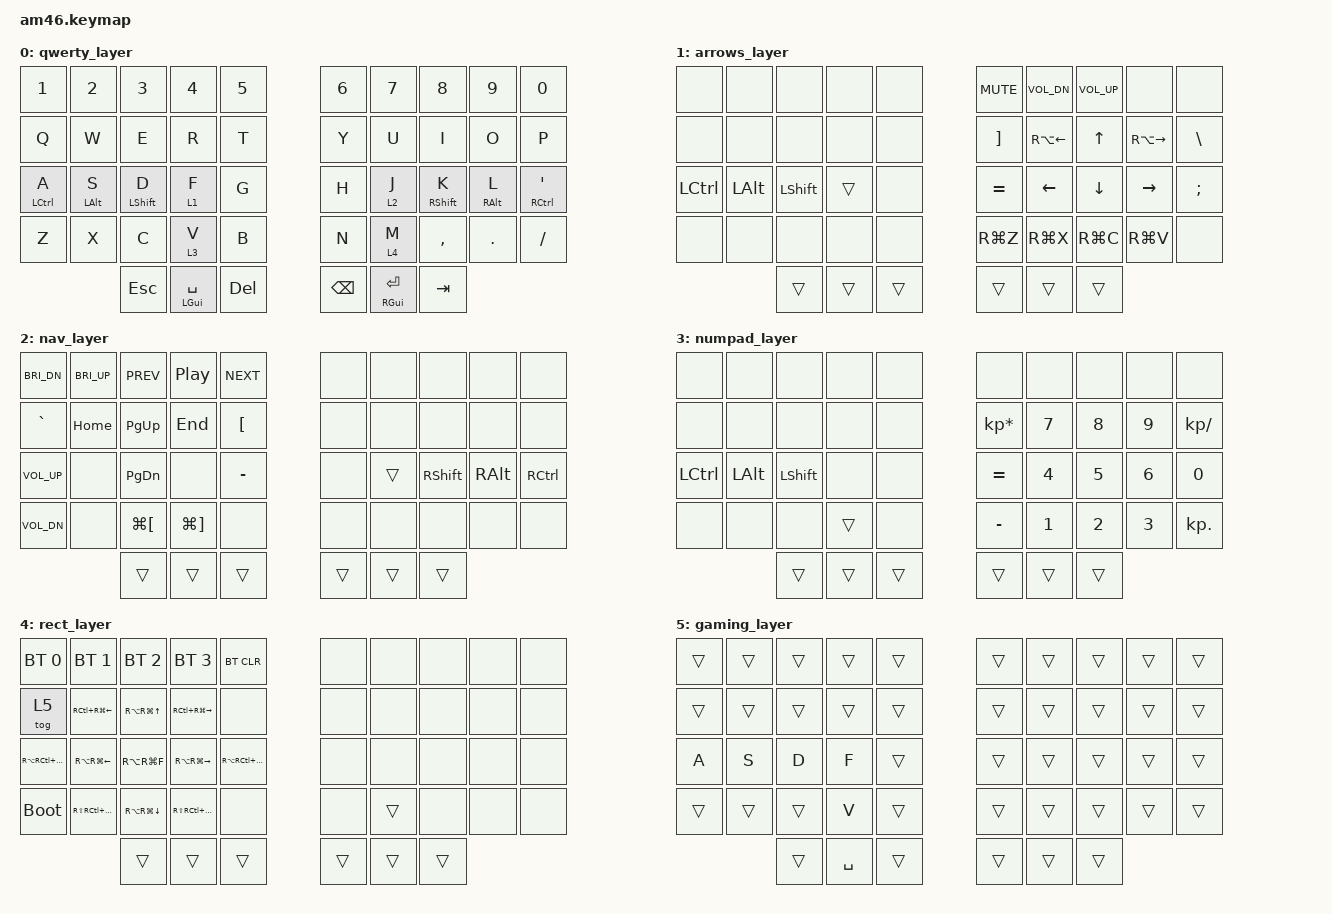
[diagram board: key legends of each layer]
/*
 * Copyright (c) 2021 Ross Harmes
 *
 * SPDX-License-Identifier: MIT
 */

#include <behaviors.dtsi>
#include <dt-bindings/zmk/keys.h>
#include <dt-bindings/zmk/bt.h>

// TODO: Define aliases for longer key-combinations
// TODO: Figure out the capslock combo.
/*
/ {
	combos {
		compatible = "zmk,combos";
		combo_esc {
			timeout-ms = <50>;
			key-positions = <45 46>; // Esc + Tab
			bindings = <&kp CAPS>;
			layers = <-1>;
		};
	};
};
*/

/ {
	keymap {
		compatible = "zmk,keymap";

		qwerty_layer {
/* Keymap 0: QWERTY layer
 *
 *                 ,------.------.------.------.------.                             ,------.------.------.------.------.
 *                 |   1  |   2  |   3  |   4  |   5  |                             |   6  |   7  |   8  |   9  |   0  |
 *                 |------+------+------+------+------|                             |------+------+------+------+------|
 *                 |   Q  |   W  |   E  |   R  |   T  |                             |   Y  |   U  |   I  |   O  |   P  |
 *                 |------+------+------+------+------|                             |------+------+------+------+------|
 *                 | A(^) | S(⌥) | D(⇧) | F(1) |   G  |------.               ,------|   H  | J(2) | K(⇧) | L(⌥) | '(^) |
 *                 |------+------+------+------+------|      |               |      |------+------+------+------+------|
 *                 |   Z  |   X  |   C  | V(3) |   B  |  Spc |               |  Ent |   N  | M(4) |   ,  |   .  |   /  |
 *                 `------'------'------'------+------|  (⌘) |------. ,------|  (⌘) |------+------'------'------'------'
 *                                             |  Esc |      |  Del | |  BS  |      |  Tab |
 *                                             `------'------'------' `------'------'------'
 */
			bindings = <
&kp N1      &kp N2      &kp N3      &kp N4      &kp N5                                 &kp N6       &kp N7      &kp N8      &kp N9      &kp N0
&kp Q       &kp W       &kp E       &kp R       &kp T                                  &kp Y        &kp U       &kp I       &kp O       &kp P
&mt LCTRL A &mt LALT S  &mt LSHFT D &lt 1 F     &kp G                                  &kp H        &lt 2 J     &mt RSHFT K &mt RALT L  &mt RCTRL SQT
&kp Z       &kp X       &kp C       &lt 3 V     &kp B                                  &kp N        &lt 4 M     &kp COMMA   &kp DOT     &kp FSLH
                                    &kp ESC     &mt LGUI SPACE &kp DEL     &kp BSPC    &mt RGUI RET &kp TAB
			>;
		};

		arrows_layer {
/* Keymap 1: Arrows layer - Cursor movement, media keys, numpad, and clipboard shortcuts
 *
 *		 ,------.------.------.------.------.                             ,------.------.------.------.------.
 *		 |      |      |      |      |      |                             | Mute | Vol- | Vol+ |      |      |
 *		 |------+------+------+------+------|                             |------+------+------+------+------|
 *		 |      |      |      |      |      |                             |   ]  | PvWd |  Up  | NxWd |   \  |
 *		 |------+------+------+------+------|                             |------+------+------+------+------|
 *		 |   ^  |   ⌥  |   ⇧  |(held)|      |------.               ,------|   =  | Left | Down | Right|   ;  |
 *		 |------+------+------+------+------|      |               |      |------+------+------+------+------|
 *		 |      |      |      |      |      |  Spc |               |  Ent | Undo |  Cut | Copy | Paste|      |
 *		 `------'------'------'------+------|  (⌘) |------. ,------|  (⌘) |------+------'------'------'------'
 *		                             |  Esc |      |  Del | |  BS  |      |  Tab |
 *		                             `------'------'------' `------'------'------'
 */
			bindings = <
&none       &none       &none       &none       &none                                  &kp K_MUTE   &kp C_VOL_DN &kp C_VOL_UP &none         &none
&none       &none       &none       &none       &none                                  &kp RBKT     &kp RA(LEFT) &kp UP       &kp RA(RIGHT) &kp BSLH
&kp LCTRL   &kp LALT    &kp LSHFT   &trans      &none                                  &kp EQUAL    &kp LEFT     &kp DOWN     &kp RIGHT     &kp SEMI
&none       &none       &none       &none       &none                                  &kp RG(Z)    &kp RG(X)    &kp RG(C)    &kp RG(V)     &none
				    &trans      &trans         &trans      &trans      &trans       &trans
			>;
		};

		nav_layer {
/* Keymap 2: Nav layer - Navigation shortcuts and media keys
 *
 *		 ,------.------.------.------.------.                             ,------.------.------.------.------.
 *		 | Bri- | Bri+ | Prev | Play | Next |                             |      |      |      |      |      |
 *		 |------+------+------+------+------|                             |------+------+------+------+------|
 *		 |   `  | Home | PgUp | End  |   [  |                             |      |      |      |      |      |
 *		 |------+------+------+------+------|                             |------+------+------+------+------|
 *		 | Vol+ |      | PgDn |      |   -  |------.               ,------|      |(held)|   ⇧  |   ⌥  |   ^  |
 *		 |------+------+------+------+------|      |               |      |------+------+------+------+------|
 *		 | Vol- |      |  ⌘[  |  ⌘]  |      |  Spc |               |  Ent |      |      |      |      |      |
 *		 `------'------'------'------+------|  (⌘) |------. ,------|  (⌘) |------+------'------'------'------'
 *		                             |  Esc |      |  Del | |  BS  |      |  Tab |
 *		                             `------'------'------' `------'------'------'
 */
			bindings = <
&kp C_BRI_DN &kp C_BRI_UP &kp C_PREV   &kp C_PP     &kp C_NEXT                             &none        &none       &none       &none       &none
&kp GRAVE    &kp HOME     &kp PG_UP    &kp END      &kp LBKT                               &none        &none       &none       &none       &none
&kp C_VOL_UP &none        &kp PG_DN    &none        &kp MINUS                              &none        &trans      &kp RSHFT   &kp RALT    &kp RCTRL
&kp C_VOL_DN &none        &kp LG(LBKT) &kp LG(RBKT) &none                                  &none        &none       &none       &none       &none
			               &trans       &trans         &trans      &trans      &trans       &trans
			>;
		};

		numpad_layer {
/* Keymap 3: Numpad
 *
 *		 ,------.------.------.------.------.                             ,------.------.------.------.------.
 *		 |      |      |      |      |      |                             |      |      |      |      |      |
 *		 |------+------+------+------+------|                             |------+------+------+------+------|
 *		 |      |      |      |      |      |                             |   *  |   7  |   8  |   9  |   /  |
 *		 |------+------+------+------+------|                             |------+------+------+------+------|
 *		 |   ^  |   ⌥  |   ⇧  |      |      |------.               ,------|   =  |   4  |   5  |   6  |   0  |
 *		 |------+------+------+------+------|      |               |      |------+------+------+------+------|
 *		 |      |      |      |(held)|      |  Spc |               |  Ent |   -  |   1  |   2  |   3  |   .  |
 *		 `------'------'------'------+------|  (⌘) |------. ,------|  (⌘) |------+------'------'------'------'
 *		                             |  Esc |      |  Del | |  BS  |      |  Tab |
 *		                             `------'------'------' `------'------'------'
 */
			bindings = <
&none       &none       &none       &none       &none                                  &none           &none        &none        &none         &none
&none       &none       &none       &none       &none                                  &kp KP_ASTERISK &kp N7       &kp N8       &kp N9        &kp KP_SLASH
&kp LCTRL   &kp LALT    &kp LSHFT   &none       &none                                  &kp EQUAL       &kp N4       &kp N5       &kp N6        &kp N0
&none       &none       &none       &trans      &none                                  &kp MINUS       &kp N1       &kp N2       &kp N3        &kp KP_DOT
				    &trans      &trans         &trans      &trans      &trans          &trans
			>;
		};

		rect_layer {
/* Keymap 4: Rectangle layer - Window management shortcuts for Rectangle
 *
 *		 ,------.------.------.------.------.                             ,------.------.------.------.------.
 *		 | BT 0 | BT 1 | BT 2 | BT 3 | BTCL |                             |      |      |      |      |      |
 *		 |------+------+------+------+------|                             |------+------+------+------+------|
 *		 |  (5) | UpLf | UpHf | UpRt |      |                             |      |      |      |      |      |
 *		 |------+------+------+------+------|                             |------+------+------+------+------|
 *		 | Disp-| LfHf | Full | RtHf | Disp+|------.               ,------|      |      |      |      |      |
 *		 |------+------+------+------+------|      |               |      |------+------+------+------+------|
 *		 |  BL  | LwLf | LwHf | LwRt |      |  Spc |               |  Ent |      |(held)|      |      |      |
 *		 `------'------'------'------+------|  (⌘) |------. ,------|  (⌘) |------+------'------'------'------'
 *		                             |  Esc |      |  Del | |  BS  |      |  Tab |
 *		                             `------'------'------' `------'------'------'
 */
			bindings = <
&bt BT_SEL 0         &bt BT_SEL 1         &bt BT_SEL 2     &bt BT_SEL 3          &bt BT_CLR                             &none        &none       &none       &none       &none
&tog 5               &kp RC(RG(LEFT))     &kp RA(RG(UP))   &kp RC(RG(RIGHT))     &none                                  &none        &none       &none       &none       &none
&kp RA(RC(RG(LEFT))) &kp RA(RG(LEFT))     &kp RA(RG(F))    &kp RA(RG(RIGHT))     &kp RA(RC(RG(RIGHT)))                  &none        &none       &none       &none       &none
&bootloader          &kp RS(RC(RG(LEFT))) &kp RA(RG(DOWN)) &kp RS(RC(RG(RIGHT))) &none                                  &none        &trans      &none       &none       &none
			                                   &trans                &trans         &trans      &trans      &trans       &trans
			>;
		};

		gaming_layer {
/* Keymap 5: Gaming layer
 *
 *		 ,------.------.------.------.------.                             ,------.------.------.------.------.
 *		 |   1  |   2  |   3  |   4  |   5  |                             |   6  |   7  |   8  |   9  |   0  |
 *		 |------+------+------+------+------|                             |------+------+------+------+------|
 *		 |   Q  |   W  |   E  |   R  |   T  |                             |   Y  |   U  |   I  |   O  |   P  |
 *		 |------+------+------+------+------|                             |------+------+------+------+------|
 *		 |   A  |   S  |   D  |   F  |   G  |------.               ,------|   H  | J(2) | K(⇧) | L(⌥) | '(^) |
 *		 |------+------+------+------+------|      |               |      |------+------+------+------+------|
 *		 |   Z  |   X  |   C  |   V  |   B  |  Spc |               |  Ent |   N  | M(4) |   ,  |   .  |   /  |
 *		 `------'------'------'------+------|      |------. ,------|  (⌘) |------+------'------'------'------'
 *		                             |  Esc |      |  Del | |  BS  |      |  Tab |
 *		                             `------'------'------' `------'------'------'
 */
			bindings = <
&trans      &trans      &trans      &trans      &trans                                 &trans       &trans      &trans      &trans      &trans
&trans      &trans      &trans      &trans      &trans                                 &trans       &trans      &trans      &trans      &trans
&kp A       &kp S       &kp D       &kp F       &trans                                 &trans       &trans      &trans      &trans      &trans
&trans      &trans      &trans      &kp V       &trans                                 &trans       &trans      &trans      &trans      &trans
				    &trans      &kp SPACE      &trans      &trans      &trans       &trans
			>;
		};
	};
};
